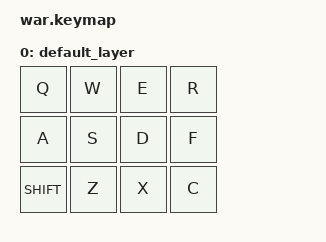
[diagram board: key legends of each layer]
// This file was generated from a template. Edit it to match your keyboard.
// See https://zmk.dev/docs/development/hardware-integration/new-shield for more instructions.

#include <behaviors.dtsi>
#include <dt-bindings/zmk/keys.h>

/ {
    // Staging keymap: one binding per matrix position (12 total, 3x4).
    // All are placeholders (&none) until behaviors are wired in later
    // phases. Row_3 and Col_4 excluded from this bring-up pass.
    keymap {
        compatible = "zmk,keymap";

        default_layer {
            bindings = <
                &kp Q &kp W &kp E &kp R
                &kp A &kp S &kp D &kp F
                &kp SHIFT &kp Z &kp X &kp C
            >;
        };
    };
};
